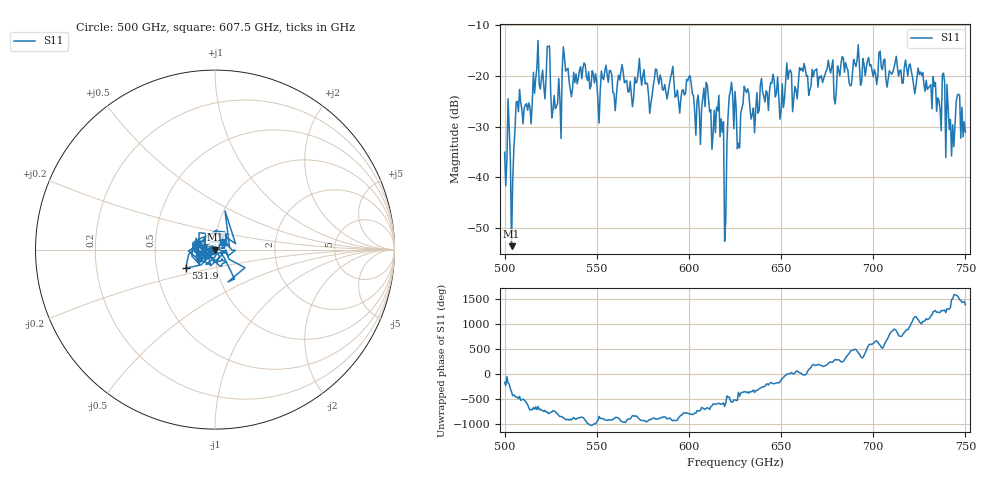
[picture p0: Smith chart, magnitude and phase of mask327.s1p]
!Created with skrf (http://scikit-rf.org).
# GHz S MA R 50.0
!freq magS11 angS11
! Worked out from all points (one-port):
!   401 points, 500 GHz to 750 GHz, reference 50 ohm
!   lowest |S11| = -53.6 dB at 503.8 GHz (marker M1), VSWR 1.00, Z = 50.2 + j0.0357 ohm
!   |S11| at or under -10 dB: start of sweep to end of sweep
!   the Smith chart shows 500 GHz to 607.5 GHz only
!   S11 on the Smith chart (normalised r, x): 500 GHz: 0.97, -0.01; 531.9 GHz: 0.71, -0.15; 607.5 GHz: 1.08, +0.09
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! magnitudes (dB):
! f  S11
! 500 GHz  -35.1
! 501.9 GHz  -24.5
! 503.8 GHz  -53.6
! 507.5 GHz  -27.1
! 513.8 GHz  -26.2
! 516.9 GHz  -20.5
! 523.8 GHz  -14.2
! 526.9 GHz  -23.9
! 531.2 GHz  -18.7
! 531.9 GHz  -14.3
! 550.6 GHz  -24.8
! 556.2 GHz  -21.3
! 560 GHz  -26.9
! 562.5 GHz  -20.8
! 579.4 GHz  -25.4
! 590.6 GHz  -19.5
! 593.8 GHz  -22.8
! 600 GHz  -20.2
! 607.5 GHz  -24.4
! 616.2 GHz  -23.8
! 619.4 GHz  -52.6
! 620.6 GHz  -33.2
! 622.5 GHz  -23.0
! 625 GHz  -23.1
! 656.2 GHz  -27.1
! 687.5 GHz  -22.0
! 718.8 GHz  -20.1
! 750 GHz  -31.1
